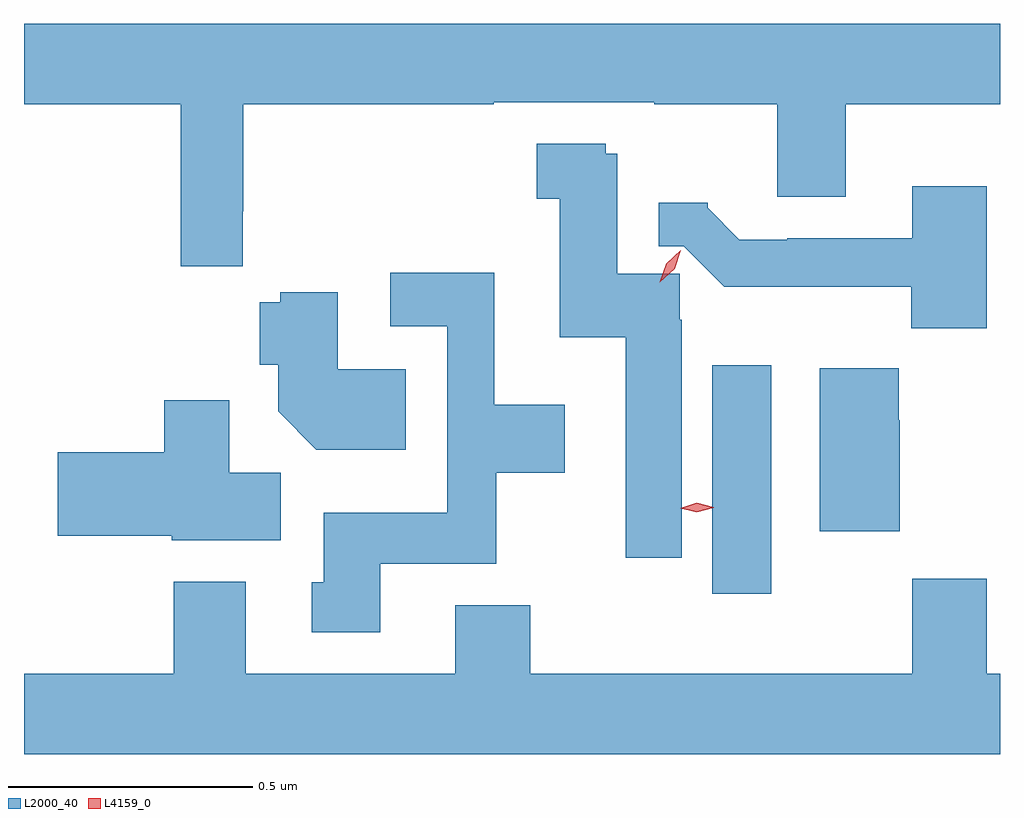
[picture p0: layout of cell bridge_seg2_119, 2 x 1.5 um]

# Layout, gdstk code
import gdstk
lib = gdstk.Library(unit=1e-6, precision=1e-09)
def R(c, l, rs):  # rectangles x0, y0, x1, y1
    for r in rs: c.add(gdstk.rectangle(r[:2], r[2:], *l))
def P(c, l, *ps):  # polygons
    for p in ps: c.add(gdstk.Polygon(p, *l))
L2000_40 = (2000, 40)
L4159_0 = (4159, 0)

bridge_seg2_119 = lib.new_cell('bridge_seg2_119')
R(bridge_seg2_119, L2000_40, [(490.371,643.968,490.492,644.437)])
P(bridge_seg2_119, L2000_40, [(489.409,644.752),(489.41,644.752),(489.41,644.972),(489.924,644.972),(489.924,644.976),(490.253,644.976),(490.253,644.972),(490.505,644.972),(490.505,644.782),(490.645,644.782),(490.645,644.972),(490.961,644.972),(490.961,645.136),(488.961,645.136),(488.961,644.972),(489.282,644.972),(489.282,644.64),(489.409,644.64)],
  [(490.309,644.53),(490.305,644.53),(490.305,644.624),(490.177,644.624),(490.177,644.87),(490.153,644.87),(490.153,644.891),(490.012,644.891),(490.012,644.778),(490.059,644.778),(490.059,644.494),(490.194,644.494),(490.194,644.042),(490.309,644.042)],
  [(490.934,644.803),(490.781,644.803),(490.781,644.697),(490.525,644.697),(490.525,644.694),(490.427,644.694),(490.362,644.759),(490.362,644.77),(490.262,644.77),(490.262,644.681),(490.313,644.681),(490.396,644.598),(490.779,644.598),(490.779,644.513),(490.934,644.513)],
  [(489.691,644.03),(489.929,644.03),(489.929,644.216),(490.069,644.216),(490.069,644.356),(489.925,644.356),(489.925,644.626),(489.711,644.626),(489.711,644.517),(489.828,644.517),(489.828,644.134),(489.575,644.134),(489.575,643.992),(489.551,643.992),(489.551,643.89),(489.691,643.89)],
  [(489.743,644.428),(489.604,644.428),(489.604,644.586),(489.486,644.586),(489.486,644.566),(489.444,644.566),(489.444,644.438),(489.482,644.438),(489.482,644.342),(489.56,644.264),(489.743,644.264)],
  [(490.756,644.324),(490.754,644.324),(490.754,644.431),(490.592,644.431),(490.592,644.097),(490.756,644.097)],
  [(489.487,644.216),(489.382,644.216),(489.382,644.365),(489.248,644.365),(489.248,644.258),(489.03,644.258),(489.03,644.087),(489.264,644.087),(489.264,644.078),(489.487,644.078)],
  [(490.961,643.804),(490.934,643.804),(490.934,643.999),(490.781,643.999),(490.781,643.804),(489.998,643.804),(489.998,643.945),(489.845,643.945),(489.845,643.804),(489.415,643.804),(489.415,643.993),(489.268,643.993),(489.268,643.804),(488.961,643.804),(488.961,643.64),(490.961,643.64)])
P(bridge_seg2_119, L4159_0, [(490.264,644.607),(490.264,644.607),(490.277,644.645),(490.307,644.672),(490.307,644.672),(490.307,644.672),(490.294,644.634),(490.264,644.607)],
  [(490.34,644.135),(490.306,644.144),(490.306,644.144),(490.306,644.144),(490.34,644.155),(490.374,644.146),(490.374,644.146),(490.374,644.145)])

lib.write_gds('bridge_seg2_119.gds')
